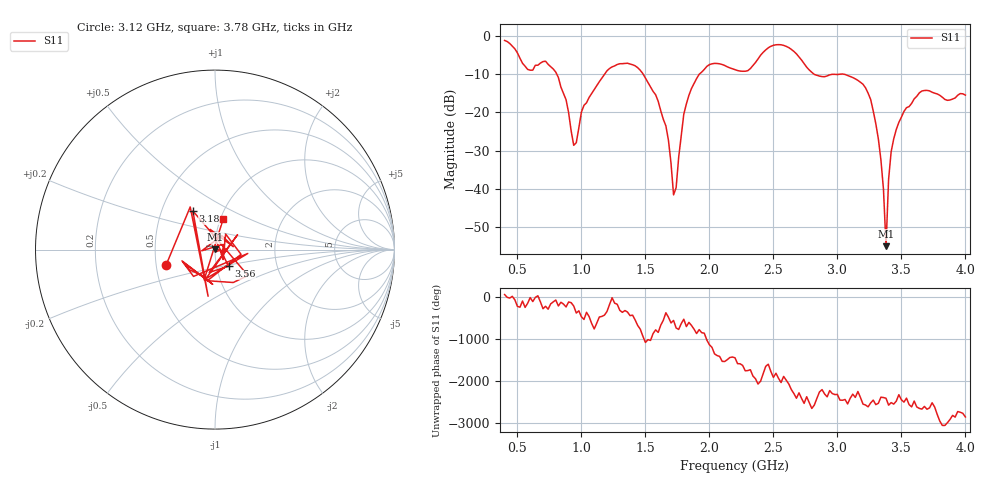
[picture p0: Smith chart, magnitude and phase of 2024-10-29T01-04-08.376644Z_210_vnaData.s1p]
!Created with skrf (http://scikit-rf.org).
# Hz S RI R 50.0
!freq ReS11 ImS11
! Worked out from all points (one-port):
!   181 points, 400 MHz to 4 GHz, reference 50 ohm
!   lowest |S11| = -54.9 dB at 3.38 GHz (marker M1), VSWR 1.00, Z = 50 + j0.176 ohm
!   |S11| at or under -10 dB: 807.7 MHz to 1.181 GHz (373.4 MHz wide, 37.6 % of centre); 1.483 GHz to 1.921 GHz (437.9 MHz wide, 25.7 % of centre); 3.049 GHz to end of sweep (the widest 3 of 4)
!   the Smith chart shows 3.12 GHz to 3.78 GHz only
!   S11 on the Smith chart (normalised r, x): 3.12 GHz: 0.56, -0.11; 3.18 GHz: 0.72, +0.33; 3.56 GHz: 1.14, -0.21; 3.78 GHz: 1.03, +0.36
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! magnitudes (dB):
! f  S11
! 400 MHz  -1.2
! 580 MHz  -8.7
! 720 MHz  -6.6
! 860 MHz  -15.0
! 940 MHz  -28.6
! 1.02 GHz  -18.1
! 1.3 GHz  -7.3
! 1.58 GHz  -15.4
! 1.66 GHz  -23.5
! 1.72 GHz  -41.5
! 1.76 GHz  -31.7
! 1.8 GHz  -20.4
! 1.92 GHz  -10.0
! 2.2 GHz  -8.8
! 2.66 GHz  -4.0
! 2.82 GHz  -10.1
! 3.1 GHz  -10.6
! 3.12 GHz  -10.9
! 3.18 GHz  -12.1
! 3.26 GHz  -16.6
! 3.32 GHz  -26.9
! 3.36 GHz  -40.1
! 3.38 GHz  -54.9
! 3.4 GHz  -37.5
! 3.42 GHz  -30.3
! 3.56 GHz  -18.5
! 3.78 GHz  -15.2
! 4 GHz  -15.5
